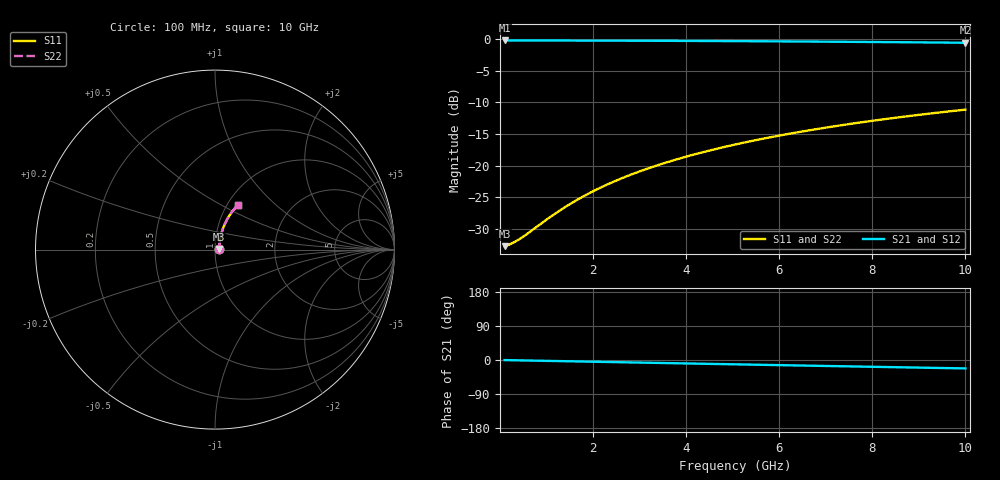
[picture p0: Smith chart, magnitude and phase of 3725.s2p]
# Hz S RI R 50.00
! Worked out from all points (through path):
!   100 points, 100 MHz to 10 GHz, reference 50 ohm
!   highest |S21| = -0.20 dB at 100 MHz (marker M1); lowest = -0.6 dB at 10 GHz (marker M2)
!   group delay of S21, straight-line fit = 6.18 ps
!   lowest |S11| = -32.7 dB at 100 MHz (marker M3), VSWR 1.05, Z = 52.4 + j0.296 ohm
!   |S11| at or under -10 dB: start of sweep to end of sweep
!   |S22| runs from -32.7 to -11.1 dB; largest |S21 - S12| = 0
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1e8  0.023 0.00282  0.977 -0.00389  0.977 -0.00389  0.023 0.00282
2e8  0.0232 0.00565  0.9768 -0.00777  0.9768 -0.00777  0.0232 0.00565
3e8  0.0234 0.00847  0.9766 -0.0117  0.9766 -0.0117  0.0234 0.00847
4e8  0.0235 0.0113  0.9765 -0.0155  0.9765 -0.0155  0.0235 0.0113
6e8  0.0239 0.0169  0.9761 -0.0233  0.9761 -0.0233  0.0239 0.0169
1e9  0.0248 0.0282  0.9751 -0.0388  0.9751 -0.0388  0.0248 0.0282
1.2e9  0.0254 0.0338  0.9745 -0.0465  0.9745 -0.0465  0.0254 0.0338
1.5e9  0.0264 0.0422  0.9735 -0.0581  0.9735 -0.0581  0.0264 0.0422
1.8e9  0.0276 0.0505  0.9722 -0.0697  0.9722 -0.0697  0.0276 0.0505
2.1e9  0.029 0.0588  0.9707 -0.0812  0.9707 -0.0812  0.029 0.0588
2.5e9  0.0311 0.0698  0.9685 -0.0964  0.9685 -0.0964  0.0311 0.0698
2.9e9  0.0336 0.0808  0.9659 -0.1116  0.9659 -0.1116  0.0336 0.0808
3.4e9  0.0372 0.0943  0.9621 -0.1305  0.9621 -0.1305  0.0372 0.0943
3.8e9  0.0404 0.1049  0.9587 -0.1454  0.9587 -0.1454  0.0404 0.1049
4.2e9  0.0439 0.1155  0.955 -0.1602  0.955 -0.1602  0.0439 0.1155
4.6e9  0.0478 0.1259  0.9509 -0.1749  0.9509 -0.1749  0.0478 0.1259
5.1e9  0.0531 0.1387  0.9454 -0.193  0.9454 -0.193  0.0531 0.1387
5.9e9  0.0624 0.1585  0.9355 -0.2214  0.9355 -0.2214  0.0624 0.1585
6.7e9  0.073 0.1777  0.9244 -0.2491  0.9244 -0.2491  0.073 0.1777
7.5e9  0.0845 0.1959  0.9122 -0.276  0.9122 -0.276  0.0845 0.1959
8.4e9  0.0987 0.2154  0.8971 -0.3052  0.8971 -0.3052  0.0987 0.2154
1e10  0.1266 0.2471  0.8675 -0.354  0.8675 -0.354  0.1266 0.2471
